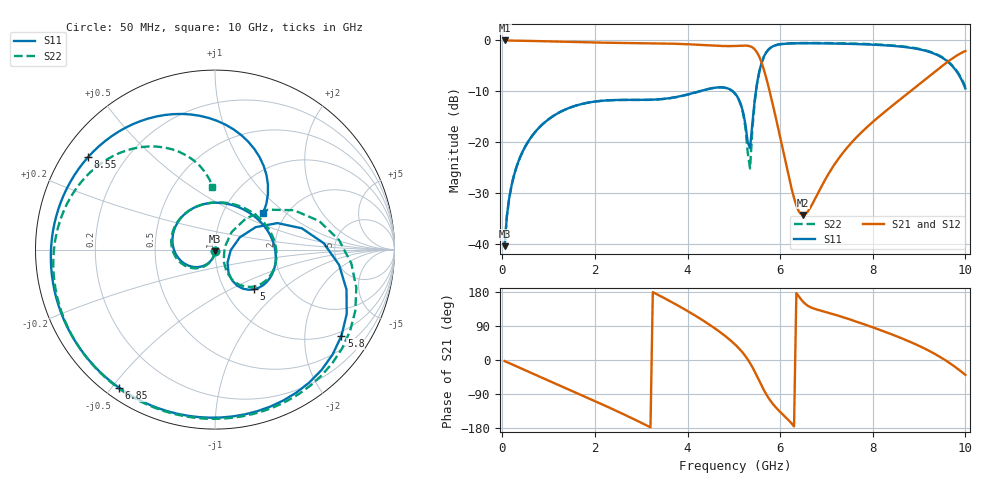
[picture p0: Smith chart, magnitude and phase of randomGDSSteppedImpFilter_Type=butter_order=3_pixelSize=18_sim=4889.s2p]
! freq	dB(S11)	phase(S11)	dB(S12)	phase(S12)
!  dB(S21)	phase(S21)	dB(S22)	phase(S22)
!S-par simulation data
#  GHz  S  DB  R 50
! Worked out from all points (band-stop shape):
!   200 points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, 50 MHz to 10 GHz, reference 50 ohm
!   highest |S21| = 0.00 dB at 50 MHz (marker M1); lowest = -34.3 dB at 6.5 GHz (marker M2)
!   |S21| within 3 dB of the highest: start of sweep to 5.538 GHz; 9.809 GHz to end of sweep
!   lowest |S11| = -40.4 dB at 50 MHz (marker M3), VSWR 1.02, Z = 49.9 - j0.955 ohm
!   |S11| at or under -10 dB: start of sweep to 4.246 GHz; 4.978 GHz to 5.476 GHz (497.9 MHz wide, 9.53 % of centre)
!   |S22| runs from -40.3 to -0.5 dB; largest |S21 - S12| = 0
!   S11 on the Smith chart (normalised r, x): 50 MHz: 1.00, -0.02; 5 GHz: 1.37, -0.67; 5.8 GHz: 0.86, -3.02; 6.85 GHz: 0.04, -0.52; 8.55 GHz: 0.07, +0.32; 10 GHz: 1.54, +0.71
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0.05  -40.38 -92.7  -0.00 -2.8  -0.00 -2.8  -40.35 -92.4
0.2  -28.46 -101.3  -0.02 -11.0  -0.02 -11.0  -28.45 -100.6
0.5  -20.76 -118.9  -0.07 -27.3  -0.07 -27.3  -20.76 -116.8
1.75  -12.40 170.6  -0.37 -94.8  -0.37 -94.8  -12.40 178.1
2.7  -11.67 115.5  -0.49 -147.8  -0.49 -147.8  -11.68 127.2
3.4  -11.54 72.4  -0.58 169.7  -0.58 169.7  -11.56 85.3
4.3  -9.87 12.0  -0.88 107.0  -0.88 107.0  -9.89 21.1
5  -10.16 -45.4  -1.10 44.0  -1.10 44.0  -10.20 -40.7
5.05  -10.69 -50.0  -1.08 38.1  -1.08 38.1  -10.74 -45.9
5.2  -14.08 -60.9  -1.01 18.1  -1.01 18.1  -14.35 -60.5
5.35  -21.15 -2.2  -1.14 -8.2  -1.14 -8.2  -25.14 13.4
5.5  -8.44 23.0  -2.34 -42.8  -2.34 -42.8  -8.65 37.0
5.8  -1.38 -34.3  -11.01 -109.1  -11.01 -109.1  -1.38 -23.6
6.1  -0.65 -70.7  -23.14 -148.7  -23.14 -148.7  -0.63 -59.9
6.5  -0.55 -102.5  -34.27 153.1  -34.27 153.1  -0.51 -90.5
6.7  -0.55 -115.6  -32.03 136.9  -32.03 136.9  -0.50 -102.6
6.85  -0.56 -124.7  -29.40 131.2  -29.40 131.2  -0.51 -110.9
7.6  -0.70 -165.7  -19.48 103.2  -19.48 103.2  -0.62 -146.8
8.35  -1.01 155.0  -13.34 70.5  -13.34 70.5  -0.93 -179.1
8.55  -1.16 143.9  -11.88 60.9  -11.88 60.9  -1.08 172.1
9.3  -2.50 96.5  -6.43 18.8  -6.43 18.8  -2.42 134.7
10  -9.42 37.3  -2.07 -39.2  -2.07 -39.2  -9.11 92.3
